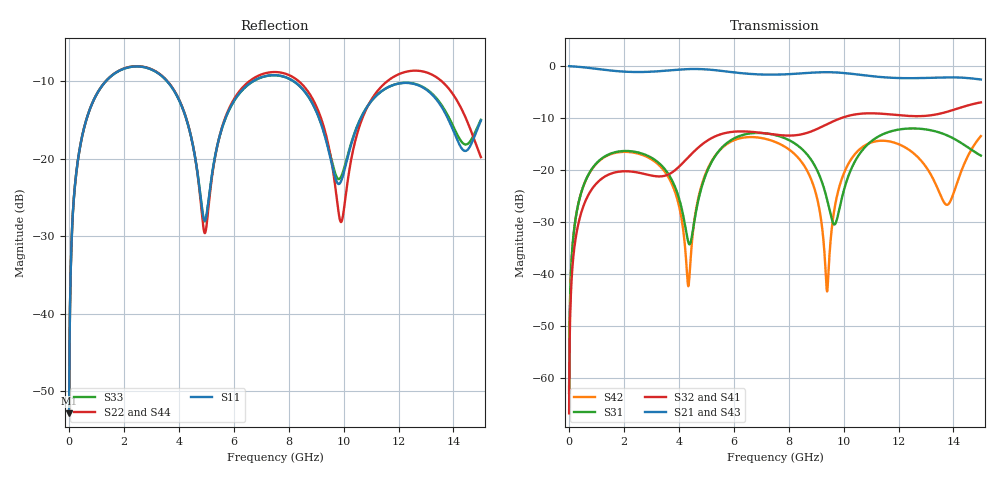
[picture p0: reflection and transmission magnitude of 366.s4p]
! Created with skrf 1.8.0 (http://scikit-rf.org).
# GHz S RI R 50.0
!freq ReS11 ImS11 ReS12 ImS12 ReS13 ImS13
! ReS14 ImS14
! ReS21 ImS21 ReS22 ImS22 ReS23 ImS23
! ReS24 ImS24
! ReS31 ImS31 ReS32 ImS32 ReS33 ImS33
! ReS34 ImS34
! ReS41 ImS41 ReS42 ImS42 ReS43 ImS43
! ReS44 ImS44
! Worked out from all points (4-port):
!   2499 points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, 5 MHz to 15 GHz, reference 50 ohm
!   strongest paths, dB at 5 MHz, 3.476 GHz, 7.19 GHz, 11.1 GHz, 15 GHz:
!     S21: 0.0, -0.9, -1.6, -2.0, -2.6
!     S43: 0.0, -0.9, -1.6, -2.0, -2.6
!     S32: -66.8, -21.1, -13.0, -9.1, -7.0
!     S41: -66.8, -21.2, -13.1, -9.1, -7.0
!     S31: -62.9, -19.7, -13.0, -14.1, -17.2
!     S42: -62.9, -20.2, -14.0, -14.6, -13.5
!   lowest |S11| = -52.8 dB at 5 MHz (marker M1), VSWR 1.00, Z = 50.2 + j0.139 ohm
!   |S11| at or under -10 dB: start of sweep to 1.341 GHz; 3.575 GHz to 6.698 GHz (3.124 GHz wide, 60.8 % of centre); 8.182 GHz to end of sweep
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0.005  0.00181 0.00138  0.9982 -0.00353  9.14e-05 0.000711  -8.88e-05 -0.000447
       0.9982 -0.00353  0.00181 0.00138  -8.88e-05 -0.000447  9.13e-05 0.000711
       9.14e-05 0.000711  -8.88e-05 -0.000447  0.00181 0.00138  0.9982 -0.00353
       -8.88e-05 -0.000447  9.13e-05 0.000711  0.9982 -0.00353  0.00181 0.00138
0.3626511  0.0359 0.1022  0.9504 -0.2513  0.0174 0.0471  -0.0141 -0.0289
           0.9504 -0.2513  0.036 0.1022  -0.0142 -0.0289  0.0168 0.0473
           0.0174 0.0471  -0.0142 -0.0289  0.0358 0.1022  0.9504 -0.2513
           -0.0141 -0.0289  0.0168 0.0473  0.9504 -0.2513  0.036 0.1022
1.825761  0.3474 0.1259  0.3449 -0.8215  0.1493 0.0222  -0.0926 0.0262
          0.3449 -0.8215  0.3493 0.1236  -0.0927 0.0266  0.1448 0.033
          0.1493 0.0222  -0.0927 0.0266  0.3473 0.126  0.3449 -0.8215
          -0.0926 0.0262  0.1448 0.033  0.3449 -0.8215  0.3494 0.1235
4.345561  0.0906 -0.1356  -0.8352 -0.4209  -0.0173 -0.0104  -0.0567 0.1199
          -0.8352 -0.4209  0.0849 -0.1406  -0.0549 0.1208  -0.00708 -0.0028
          -0.0173 -0.0104  -0.0549 0.1208  0.0907 -0.1358  -0.8352 -0.4208
          -0.0567 0.1199  -0.00708 -0.0028  -0.8352 -0.4208  0.0851 -0.1408
7.503126  0.3461 -0.00867  -0.0794 0.8238  0.1921 -0.1012  0.209 -0.0564
          -0.0794 0.8238  0.362 -0.0229  0.2101 -0.062  0.1837 -0.0326
          0.1921 -0.1012  0.2101 -0.062  0.3454 -0.00521  -0.079 0.8235
          0.209 -0.0564  0.1837 -0.0326  -0.079 0.8235  0.3642 -0.0262
9.397666  0.0926 -0.0828  0.768 0.4166  -0.034 -0.0397  0.1272 -0.2446
          0.768 0.4166  0.0734 -0.1119  0.1182 -0.2493  0.00666 0.0013
          -0.034 -0.0397  0.1182 -0.2493  0.0978 -0.0809  0.768 0.416
          0.1272 -0.2446  0.00666 0.0013  0.768 0.416  0.0697 -0.1152
15  0.1444 0.1016  -0.7331 -0.123  -0.1177 0.0715  -0.0778 0.44
    -0.7331 -0.123  0.0836 -0.0593  -0.0566 0.4437  0.1241 0.1722
    -0.1177 0.0715  -0.0566 0.4437  0.1533 0.0914  -0.7328 -0.1234
    -0.0778 0.44  0.1241 0.1722  -0.7328 -0.1234  0.0846 -0.0638
